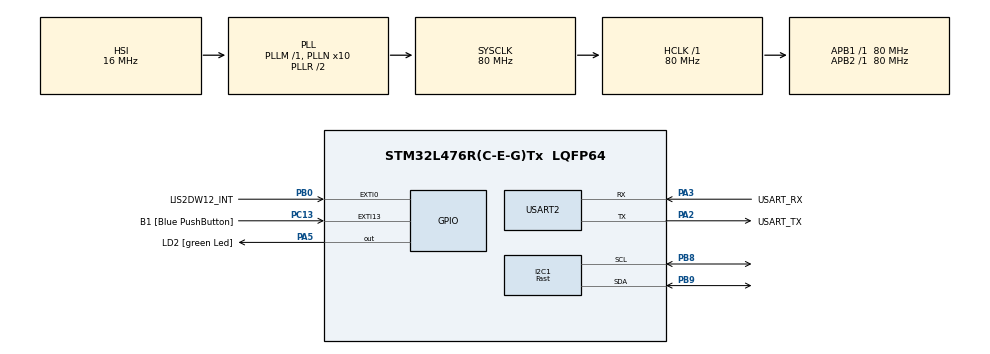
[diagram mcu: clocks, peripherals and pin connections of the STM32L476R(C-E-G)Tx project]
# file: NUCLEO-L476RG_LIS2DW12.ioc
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I2C1.I2C_Speed_Mode=I2C_Fast
I2C1.Timing=0x00702991
Mcu.Family=STM32L4
Mcu.Name=STM32L476R(C-E-G)Tx
Mcu.Package=LQFP64
NVIC.EXTI0_IRQn=true\:0\:0\:false\:false\:true\:true\:true\:true
NVIC.PriorityGroup=NVIC_PRIORITYGROUP_4
PA2.GPIO_Label=USART_TX
PA2.GPIO_Mode=GPIO_MODE_AF_PP
PA2.GPIO_PuPd=GPIO_NOPULL
PA2.GPIO_Speed=GPIO_SPEED_FREQ_VERY_HIGH
PA2.Mode=Asynchronous
PA2.Signal=USART2_TX
PA3.GPIO_Label=USART_RX
PA3.GPIO_Mode=GPIO_MODE_AF_PP
PA3.GPIO_PuPd=GPIO_NOPULL
PA3.GPIO_Speed=GPIO_SPEED_FREQ_VERY_HIGH
PA3.Mode=Asynchronous
PA3.Signal=USART2_RX
PA5.GPIO_Label=LD2 [green Led]
PA5.GPIO_ModeDefaultOutputPP=GPIO_MODE_OUTPUT_PP
PA5.GPIO_PuPd=GPIO_NOPULL
PA5.GPIO_Speed=GPIO_SPEED_FREQ_LOW
PA5.Signal=GPIO_Output
PB0.GPIO_Label=LIS2DW12_INT
PB0.Signal=GPXTI0
PB8.Mode=I2C
PB8.Signal=I2C1_SCL
PB9.Mode=I2C
PB9.Signal=I2C1_SDA
PC13.GPIO_Label=B1 [Blue PushButton]
PC13.GPIO_ModeDefaultEXTI=GPIO_MODE_IT_FALLING
PC13.GPIO_PuPd=GPIO_NOPULL
PC13.Signal=GPXTI13
ProjectManager.HeapSize=0x200
ProjectManager.StackSize=0x400
ProjectManager.TargetToolchain=STM32CubeIDE
RCC.ADCFreq_Value=64000000
RCC.AHBFreq_Value=80000000
RCC.APB1Freq_Value=80000000
RCC.APB1TimFreq_Value=80000000
RCC.APB2Freq_Value=80000000
RCC.APB2TimFreq_Value=80000000
RCC.CortexFreq_Value=80000000
RCC.HCLKFreq_Value=80000000
RCC.HSE_VALUE=8000000
RCC.HSI_VALUE=16000000
RCC.LSE_VALUE=32768
RCC.MSI_VALUE=4000000
RCC.PLLN=10
RCC.PLLSourceVirtual=RCC_PLLSOURCE_HSI
RCC.PREFETCH_ENABLE=1
RCC.SYSCLKFreq_VALUE=80000000
RCC.SYSCLKSource=RCC_SYSCLKSOURCE_PLLCLK
RCC.USBFreq_Value=64000000
RCC.VCOOutputFreq_Value=160000000
USART2.VirtualMode-Asynchronous=VM_ASYNC
board=NUCLEO-L476RG

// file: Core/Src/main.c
/* USER CODE BEGIN Header */
/**
  ******************************************************************************
  * @file           : main.c
  * @brief          : Main program body
  ******************************************************************************
  * @attention
  *
  * Copyright (c) 2022 STMicroelectronics.
  * All rights reserved.
  *
  * This software is licensed under terms that can be found in the LICENSE file
  * in the root directory of this software component.
  * If no LICENSE file comes with this software, it is provided AS-IS.
  *
  ******************************************************************************
  */
/* USER CODE END Header */
#include "main.h"
#include <string.h>
#include <stdio.h>
#include "lis2dw12_reg.h"
#include <cycle_dwt.h>
#include "NanoEdgeAI.h"

/* USER CODE BEGIN PD */
/************************************************************ NEAI algorithm defines begin ************************************************************/
/************************************************************ Global settings part ************************************************************/
#ifndef AXIS
  #define AXIS              3                       /* Axis should be defined between 1 and 3 */
#endif
#ifndef SAMPLES
  #define SAMPLES           128                     /* Should be between 16 & 4096 */
#endif
/************************************************************ Sensors configuration part ************************************************************/
#ifndef ACCELEROMETER_ODR
  #define ACCELEROMETER_ODR  LIS2DW12_XL_ODR_800Hz  /* Shoud be between LIS2DW12_XL_ODR_12Hz5 and LIS2DW12_XL_ODR_1k6Hz */
#endif
#ifndef ACCELEROMETER_FS
  #define ACCELEROMETER_FS   LIS2DW12_2g            /* Should be between LIS2DW12_2g and LIS2DW12_16g */
#endif
/************************************************************ Datalogger / NEAI mode part ************************************************************/
#ifndef NEAI_MODE
  #define NEAI_MODE         0                       /* 0: Datalogger mode, 1: NEAI functions mode */
#endif
#if (NEAI_MODE == 1)
  #ifndef NEAI_LEARN_NB
    #define NEAI_LEARN_NB   20                      /* Number of buffers to be learn by the NEAI library */
  #endif
#endif
/************************************************************ NEAI algorithm defines end ************************************************************/
/* USER CODE END PD */

I2C_HandleTypeDef hi2c1;

UART_HandleTypeDef huart2;

/* USER CODE BEGIN PV */
static int16_t data_raw_acceleration[3];
static uint8_t whoamI, rst;
uint8_t neai_similarity = 0, neai_state = 0, first_comm = 1;
volatile uint8_t drdy = 0;
uint16_t neai_cnt = 0, drdy_counter = 0;
float neai_time = 0.0;
float neai_buffer[AXIS * SAMPLES] = {0};
stmdev_ctx_t dev_ctx;

/* USER CODE END PV */

void SystemClock_Config(void);
static void MX_GPIO_Init(void);
static void MX_I2C1_Init(void);
static void MX_USART2_UART_Init(void);
/* USER CODE BEGIN PFP */
static int32_t platform_write(void *handle, uint8_t reg, const uint8_t *bufp, uint16_t len);
static int32_t platform_read(void *handle, uint8_t reg, uint8_t *bufp, uint16_t len);
static void lis2dw12_initialize(void);
static float lis2dw12_convert_data_to_mg(int16_t accel_raw_data);
static void iks01a3_i2c_stuck_quirk(void);

/* USER CODE END PFP */

int main(void)
{
  /* USER CODE BEGIN 1 */
  /* Initialize mems driver interface */
  dev_ctx.write_reg = platform_write;
  dev_ctx.read_reg = platform_read;
  dev_ctx.handle = &hi2c1;
  /* USER CODE END 1 */

  /* MCU Configuration--------------------------------------------------------*/

  /* Reset of all peripherals, Initializes the Flash interface and the Systick. */
  HAL_Init();

  /* Configure the system clock */
  SystemClock_Config();

  /* USER CODE BEGIN SysInit */
  iks01a3_i2c_stuck_quirk();
  /* USER CODE END SysInit */

  /* Initialize all configured peripherals */
  MX_GPIO_Init();
  MX_I2C1_Init();
  MX_USART2_UART_Init();
  /* USER CODE BEGIN 2 */
  KIN1_InitCycleCounter();
  KIN1_EnableCycleCounter();
  lis2dw12_initialize();
  if (NEAI_MODE) {
    neai_state = neai_anomalydetection_init();
    printf("Initialize NEAI library. NEAI init return: %d.\n",  neai_state);
  }
  /* USER CODE END 2 */

  /* Infinite loop */
  /* USER CODE BEGIN WHILE */
  while (1)
  {
    if (drdy) {
      /* Reset data ready condition */
      drdy = 0;
      /* Read acceleration data */
      memset(data_raw_acceleration, 0x00, 3 * sizeof(int16_t));
      lis2dw12_acceleration_raw_get(&dev_ctx, data_raw_acceleration);
      for (uint8_t i = 0; i < AXIS; i++) {
        neai_buffer[(AXIS * drdy_counter) + i] = lis2dw12_convert_data_to_mg(data_raw_acceleration[i]);
      }
      drdy_counter++;
      if (drdy_counter >= SAMPLES) {
        /* Set Output Data Rate */
        lis2dw12_data_rate_set(&dev_ctx, LIS2DW12_XL_ODR_OFF);
#if NEAI_MODE
        uint32_t cycles_cnt = 0;
        if (neai_cnt < NEAI_LEARN_NB) {
          neai_cnt++;
          KIN1_ResetCycleCounter();
          neai_state = neai_anomalydetection_learn(neai_buffer);
          cycles_cnt = KIN1_GetCycleCounter();
          neai_time = (cycles_cnt * 1000000.0) / HAL_RCC_GetSysClockFreq();
          printf("Learn: %d / %d. NEAI learn return: %d. Cycles counter: %ld = %.1f µs at %ld Hz.\n",
                neai_cnt, NEAI_LEARN_NB, neai_state, cycles_cnt, neai_time, HAL_RCC_GetSysClockFreq());
        }
        else {
          KIN1_ResetCycleCounter();
          neai_state = neai_anomalydetection_detect(neai_buffer, &neai_similarity);
          cycles_cnt = KIN1_GetCycleCounter();
          neai_time = (cycles_cnt * 1000000.0) / HAL_RCC_GetSysClockFreq();
          printf("Similarity: %d / 100. NEAI detect return: %d. Cycles counter: %ld = %.1f µs at %ld Hz.\n",
                neai_similarity, neai_state, cycles_cnt, neai_time, HAL_RCC_GetSysClockFreq());
        }
#else
        for (uint16_t i = 0; i < AXIS * SAMPLES; i++) {
          printf("%.3f ", neai_buffer[i]);
        }
        printf("\n");
#endif
        /* Reset drdy_counter in order to get a new buffer */
        drdy_counter = 0;
        /* Clean neai buffer */
        memset(neai_buffer, 0x00, AXIS * SAMPLES * sizeof(float));
        /* Set Output Data Rate */
        lis2dw12_data_rate_set(&dev_ctx, ACCELEROMETER_ODR);
      }
    }
    /* USER CODE END WHILE */

  }
}

void SystemClock_Config(void)
{
  RCC_OscInitTypeDef RCC_OscInitStruct = {0};
  RCC_ClkInitTypeDef RCC_ClkInitStruct = {0};

  /** Configure the main internal regulator output voltage
  */
  if (HAL_PWREx_ControlVoltageScaling(PWR_REGULATOR_VOLTAGE_SCALE1) != HAL_OK)
  {
    Error_Handler();
  }

  /** Initializes the RCC Oscillators according to the specified parameters
  * in the RCC_OscInitTypeDef structure.
  */
  RCC_OscInitStruct.OscillatorType = RCC_OSCILLATORTYPE_HSI;
  RCC_OscInitStruct.HSIState = RCC_HSI_ON;
  RCC_OscInitStruct.HSICalibrationValue = RCC_HSICALIBRATION_DEFAULT;
  RCC_OscInitStruct.PLL.PLLState = RCC_PLL_ON;
  RCC_OscInitStruct.PLL.PLLSource = RCC_PLLSOURCE_HSI;
  RCC_OscInitStruct.PLL.PLLM = 1;
  RCC_OscInitStruct.PLL.PLLN = 10;
  RCC_OscInitStruct.PLL.PLLP = RCC_PLLP_DIV7;
  RCC_OscInitStruct.PLL.PLLQ = RCC_PLLQ_DIV2;
  RCC_OscInitStruct.PLL.PLLR = RCC_PLLR_DIV2;
  if (HAL_RCC_OscConfig(&RCC_OscInitStruct) != HAL_OK)
  {
    Error_Handler();
  }

  /** Initializes the CPU, AHB and APB buses clocks
  */
  RCC_ClkInitStruct.ClockType = RCC_CLOCKTYPE_HCLK|RCC_CLOCKTYPE_SYSCLK
                              |RCC_CLOCKTYPE_PCLK1|RCC_CLOCKTYPE_PCLK2;
  RCC_ClkInitStruct.SYSCLKSource = RCC_SYSCLKSOURCE_PLLCLK;
  RCC_ClkInitStruct.AHBCLKDivider = RCC_SYSCLK_DIV1;
  RCC_ClkInitStruct.APB1CLKDivider = RCC_HCLK_DIV1;
  RCC_ClkInitStruct.APB2CLKDivider = RCC_HCLK_DIV1;

  if (HAL_RCC_ClockConfig(&RCC_ClkInitStruct, FLASH_LATENCY_4) != HAL_OK)
  {
    Error_Handler();
  }
}

static void MX_I2C1_Init(void)
{

  hi2c1.Instance = I2C1;
  hi2c1.Init.Timing = 0x00702991;
  hi2c1.Init.OwnAddress1 = 0;
  hi2c1.Init.AddressingMode = I2C_ADDRESSINGMODE_7BIT;
  hi2c1.Init.DualAddressMode = I2C_DUALADDRESS_DISABLE;
  hi2c1.Init.OwnAddress2 = 0;
  hi2c1.Init.OwnAddress2Masks = I2C_OA2_NOMASK;
  hi2c1.Init.GeneralCallMode = I2C_GENERALCALL_DISABLE;
  hi2c1.Init.NoStretchMode = I2C_NOSTRETCH_DISABLE;
  if (HAL_I2C_Init(&hi2c1) != HAL_OK)
  {
    Error_Handler();
  }

  /** Configure Analogue filter
  */
  if (HAL_I2CEx_ConfigAnalogFilter(&hi2c1, I2C_ANALOGFILTER_ENABLE) != HAL_OK)
  {
    Error_Handler();
  }

  /** Configure Digital filter
  */
  if (HAL_I2CEx_ConfigDigitalFilter(&hi2c1, 0) != HAL_OK)
  {
    Error_Handler();
  }

}

static void MX_USART2_UART_Init(void)
{

  huart2.Instance = USART2;
  huart2.Init.BaudRate = 115200;
  huart2.Init.WordLength = UART_WORDLENGTH_8B;
  huart2.Init.StopBits = UART_STOPBITS_1;
  huart2.Init.Parity = UART_PARITY_NONE;
  huart2.Init.Mode = UART_MODE_TX_RX;
  huart2.Init.HwFlowCtl = UART_HWCONTROL_NONE;
  huart2.Init.OverSampling = UART_OVERSAMPLING_16;
  huart2.Init.OneBitSampling = UART_ONE_BIT_SAMPLE_DISABLE;
  huart2.AdvancedInit.AdvFeatureInit = UART_ADVFEATURE_NO_INIT;
  if (HAL_UART_Init(&huart2) != HAL_OK)
  {
    Error_Handler();
  }

}

static void MX_GPIO_Init(void)
{
  GPIO_InitTypeDef GPIO_InitStruct = {0};

  /* GPIO Ports Clock Enable */
  __HAL_RCC_GPIOC_CLK_ENABLE();
  __HAL_RCC_GPIOA_CLK_ENABLE();
  __HAL_RCC_GPIOB_CLK_ENABLE();

  /*Configure GPIO pin Output Level */
  HAL_GPIO_WritePin(LD2_GPIO_Port, LD2_Pin, GPIO_PIN_RESET);

  /*Configure GPIO pin : B1_Pin */
  GPIO_InitStruct.Pin = B1_Pin;
  GPIO_InitStruct.Mode = GPIO_MODE_IT_FALLING;
  GPIO_InitStruct.Pull = GPIO_NOPULL;
  HAL_GPIO_Init(B1_GPIO_Port, &GPIO_InitStruct);

  /*Configure GPIO pin : LD2_Pin */
  GPIO_InitStruct.Pin = LD2_Pin;
  GPIO_InitStruct.Mode = GPIO_MODE_OUTPUT_PP;
  GPIO_InitStruct.Pull = GPIO_NOPULL;
  GPIO_InitStruct.Speed = GPIO_SPEED_FREQ_LOW;
  HAL_GPIO_Init(LD2_GPIO_Port, &GPIO_InitStruct);

  /*Configure GPIO pin : LIS2DW12_INT_Pin */
  GPIO_InitStruct.Pin = LIS2DW12_INT_Pin;
  GPIO_InitStruct.Mode = GPIO_MODE_IT_RISING;
  GPIO_InitStruct.Pull = GPIO_NOPULL;
  HAL_GPIO_Init(LIS2DW12_INT_GPIO_Port, &GPIO_InitStruct);

  /* EXTI interrupt init*/
  HAL_NVIC_SetPriority(EXTI0_IRQn, 0, 0);
  HAL_NVIC_EnableIRQ(EXTI0_IRQn);

}

/* USER CODE BEGIN 4 */
/**
  * @brief  Redirecting stdout to USART2 which is connected on the STLINK port
  * @retval
  * @param
  */
int __io_putchar(int ch)
{
 uint8_t c[1];
 c[0] = ch & 0x00FF;
 HAL_UART_Transmit(&huart2, &*c, 1, 10);
 return ch;
}

/**
  * @brief  EXTI line rising detection callback.
  * @param  GPIO_Pin Specifies the port pin connected to corresponding EXTI line.
  * @retval None
  */
void HAL_GPIO_EXTI_Callback(uint16_t GPIO_Pin)
{
  switch(GPIO_Pin) {
  case LIS2DW12_INT_Pin:
    drdy = 1;
    break;
  }
}

/*
 * @brief  Write generic device register (platform dependent)
 *
 * @param  handle    customizable argument. In this examples is used in
 *                   order to select the correct sensor bus handler.
 * @param  reg       register to write
 * @param  bufp      pointer to data to write in register reg
 * @param  len       number of consecutive register to write
 *
 */
static int32_t platform_write(void *handle, uint8_t reg, const uint8_t *bufp, uint16_t len)
{
  HAL_I2C_Mem_Write(handle, LIS2DW12_I2C_ADD_H, reg, I2C_MEMADD_SIZE_8BIT, (uint8_t*) bufp, len, 1000);
  return 0;
}

/*
 * @brief  Read generic device register (platform dependent)
 *
 * @param  handle    customizable argument. In this examples is used in
 *                   order to select the correct sensor bus handler.
 * @param  reg       register to read
 * @param  bufp      pointer to buffer that store the data read
 * @param  len       number of consecutive register to read
 *
 */
static int32_t platform_read(void *handle, uint8_t reg, uint8_t *bufp, uint16_t len)
{
  HAL_I2C_Mem_Read(handle, LIS2DW12_I2C_ADD_H, reg, I2C_MEMADD_SIZE_8BIT, bufp, len, 1000);
  return 0;
}

/*
 * @brief  Initialize LIS2DW12 sensor interface
 *
 * @param  No
 *
 * @return No
 *
 */
static void lis2dw12_initialize()
{
  /* Check device ID */
  whoamI = 0;

  do {
    HAL_Delay(20);
    lis2dw12_device_id_get(&dev_ctx, &whoamI);
  } while(whoamI != LIS2DW12_ID);

  /* Restore default configuration */
  lis2dw12_reset_set(&dev_ctx, PROPERTY_ENABLE);

  do {
    lis2dw12_reset_get(&dev_ctx, &rst);
  } while (rst);

  /* Enable Block Data Update */
  lis2dw12_block_data_update_set(&dev_ctx, PROPERTY_ENABLE);
  /* Set full scale */
  lis2dw12_full_scale_set(&dev_ctx, ACCELEROMETER_FS);
  /* Configure power mode */
  lis2dw12_power_mode_set(&dev_ctx, LIS2DW12_HIGH_PERFORMANCE);
  /* Set Output Data Rate */
  lis2dw12_data_rate_set(&dev_ctx, ACCELEROMETER_ODR);
  /* Data-ready routed on INT1 pin */
  lis2dw12_ctrl4_int1_pad_ctrl_t int1_conf = {0};
  int1_conf.int1_drdy = PROPERTY_ENABLE;
  lis2dw12_pin_int1_route_set(&dev_ctx, &int1_conf);
  /* Read data to avoid bug at boot/reset du to the interrupt */
  lis2dw12_acceleration_raw_get(&dev_ctx, data_raw_acceleration);
}

/*
 * @brief  Convert accelerometer raw data to milli-G' (mg)
 *
 * @param  accel_raw_data: which is accelerometer raw data
 *                        depending on the full scale selected
 *
 * @return The converted value in milli-G' (mg)
 *
 */
static float lis2dw12_convert_data_to_mg(int16_t accel_raw_data)
{
  float accel_data_mg = 0.0;
  switch (ACCELEROMETER_FS)
  {
  case LIS2DW12_2g:
    accel_data_mg = lis2dw12_from_fs2_to_mg(accel_raw_data);
    break;
  case LIS2DW12_4g:
    accel_data_mg = lis2dw12_from_fs4_to_mg(accel_raw_data);
    break;
  case LIS2DW12_8g:
    accel_data_mg = lis2dw12_from_fs8_to_mg(accel_raw_data);
    break;
  case LIS2DW12_16g:
    accel_data_mg = lis2dw12_from_fs16_to_mg(accel_raw_data);
    break;
  default:
    accel_data_mg = 0.0;
    break;
  }
  return accel_data_mg;
}

/*
 * Pressing the reset button while the sensor is answering to a read request
 * might lead to disaster.
 * In this case the device is stuck, waiting for pulses on SCL to finish the
 * previous transfer.
 * While stuck the sensor keep the SDA low.
 *
 * As a workaround we simply configure the SCL pin as a GPIO and send a burst
 * of pulses to bring the sensor back to an idle state.
 */
static void iks01a3_i2c_stuck_quirk(void)
{
  GPIO_InitTypeDef GPIO_InitStruct = {0};

  /* GPIO Ports Clock Enable */
  __HAL_RCC_GPIOB_CLK_ENABLE();

  /* Configure SCL as a GPIO */
  GPIO_InitStruct.Pin = SCL_PIN;
  GPIO_InitStruct.Mode = GPIO_MODE_OUTPUT_PP;
  GPIO_InitStruct.Pull = GPIO_NOPULL;
  GPIO_InitStruct.Speed = GPIO_SPEED_FREQ_LOW;
  GPIO_InitStruct.Alternate = GPIO_AF4_I2C1;
  HAL_GPIO_Init(SCL_PORT, &GPIO_InitStruct);

  /* Send a burst of pulses on SCL */
  int pulses = 20;
  do {
    HAL_Delay(1);
    HAL_GPIO_WritePin(SCL_PORT, SCL_PIN, GPIO_PIN_RESET);
    HAL_Delay(1);
    HAL_GPIO_WritePin(SCL_PORT, SCL_PIN, GPIO_PIN_SET);
  } while (pulses--);

  /* GPIO Ports Clock Enable */
  __HAL_RCC_GPIOB_CLK_DISABLE();
}

/* USER CODE END 4 */

void Error_Handler(void)
{
  __disable_irq();
  while (1)
  {
  }
}
